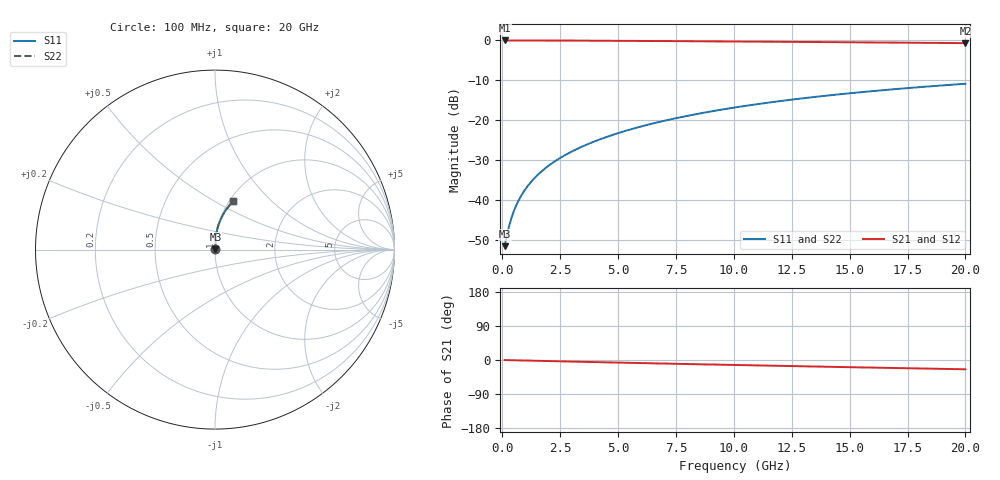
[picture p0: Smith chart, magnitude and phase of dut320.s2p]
! Touchstone file exported from HFSS 2024.1.0
!  File:  C:/UserFiles/LocalFiles/RDL_TSV_Batchsim/temp_RDL_top_320_1779606988.aedt
!  Generated:  03:18:48 PM May 24, 2026
!  Design:  RDL_top
!  Project:  temp_RDL_top_320_1779606988
!  Setup:  Setup1
!  Solution:  Sweep
! Variables:
!  dtsv = 10.80580581um
!  hbump = 3um
!  htsv = 52.75um
!  ldown = 100um
!  lrdl = 284.8um
!  p = 40
!  p1 = 55.78um
!  rhole = 1um
!  t = 450um
!  tdown = 3.915915916um
!  trdl = 2.55um
!  wdown = 15.38538539um
!  wrdl = 20.21um
# GHz S MA R 50.000000
! Terminal data exported
! Port[1] = Box2_T1
! Port[2] = Box2_T2
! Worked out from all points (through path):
!   200 points, 100 MHz to 20 GHz, reference 50 ohm
!   highest |S21| = -0.02 dB at 100 MHz (marker M1); lowest = -0.7 dB at 20 GHz (marker M2)
!   group delay of S21, straight-line fit = 3.38 ps
!   lowest |S11| = -51.5 dB at 100 MHz (marker M3), VSWR 1.01, Z = 50.2 + j0.143 ohm
!   |S11| at or under -10 dB: start of sweep to end of sweep
!   |S22| runs from -51.5 to -10.9 dB; largest |S21 - S12| = 2.6e-14
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0.1  0.002653 32.5  0.9978 -0.1  0.9978 -0.1  0.002653 32.5
! Gamma 0 0 0 0
! Port Impedance 50 0 50 0
0.2  0.003638 50.9  0.9977 -0.3  0.9977 -0.3  0.003638 50.9
0.3  0.00481 60.6  0.9976 -0.4  0.9976 -0.4  0.004812 60.6
0.4  0.006043 66.4  0.9975 -0.6  0.9975 -0.6  0.006046 66.4
0.5  0.007299 70.2  0.9974 -0.7  0.9974 -0.7  0.007303 70.2
0.6  0.00857 72.9  0.9973 -0.9  0.9973 -0.9  0.008574 72.9
0.8  0.01114 76.6  0.9971 -1.1  0.9971 -1.1  0.01114 76.6
1.1  0.01505 79.8  0.9967 -1.6  0.9967 -1.6  0.01505 79.8
1.5  0.02032 82.3  0.9962 -2.1  0.9962 -2.1  0.02032 82.2
1.8  0.02432 83.4  0.9958 -2.5  0.9958 -2.5  0.02431 83.4
2.1  0.02834 84.2  0.9953 -3.0  0.9953 -3.0  0.02834 84.2
2.7  0.03648 85.2  0.994 -3.8  0.994 -3.8  0.03648 85.2
3.5  0.04756 85.8  0.9921 -4.9  0.9921 -4.9  0.04755 85.8
4.2  0.05745 86.0  0.9901 -5.8  0.9901 -5.8  0.05744 86.0
5  0.06898 85.9  0.9876 -6.9  0.9876 -6.9  0.06897 85.9
5.9  0.0822 85.5  0.9845 -8.0  0.9845 -8.0  0.08218 85.5
6.8  0.0956 84.9  0.9812 -9.2  0.9812 -9.2  0.09558 84.8
8.4  0.1197 83.4  0.975 -11.2  0.975 -11.2  0.1197 83.4
10.1  0.1454 81.5  0.9682 -13.2  0.9682 -13.2  0.1454 81.5
13.4  0.1945 77.5  0.9542 -17.1  0.9542 -17.1  0.1944 77.5
16.7  0.2417 73.5  0.9393 -20.9  0.9393 -20.9  0.2416 73.4
20  0.2864 69.5  0.9236 -24.5  0.9236 -24.5  0.2863 69.5
